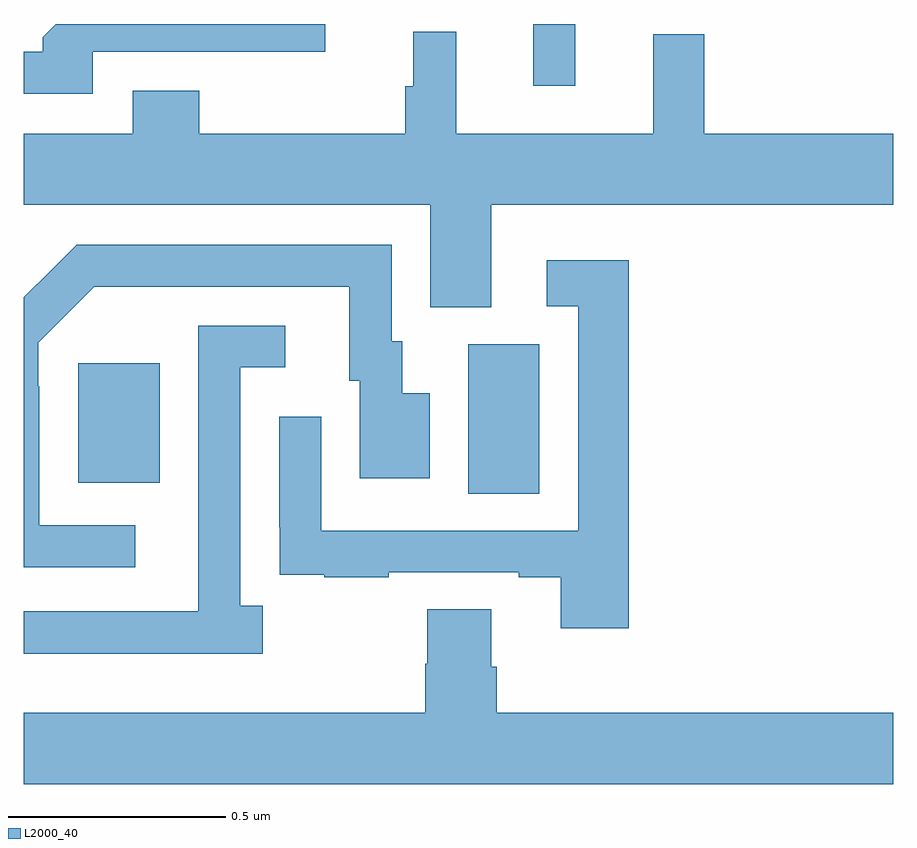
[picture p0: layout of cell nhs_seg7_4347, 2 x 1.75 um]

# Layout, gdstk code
import gdstk
lib = gdstk.Library(unit=1e-6, precision=1e-09)
def R(c, l, rs):  # rectangles x0, y0, x1, y1
    for r in rs: c.add(gdstk.rectangle(r[:2], r[2:], *l))
def P(c, l, *ps):  # polygons
    for p in ps: c.add(gdstk.Polygon(p, *l))
L2000_40 = (2000, 40)

nhs_seg7_4347 = lib.new_cell('nhs_seg7_4347')
R(nhs_seg7_4347, L2000_40, [(172.022,1031.92,172.186,1032.264), (171.125,1031.945,171.313,1032.22), (172.172,1032.858,172.269,1033)])
P(nhs_seg7_4347, L2000_40, [(171.159,1032.936),(171.694,1032.936),(171.694,1033),(171.074,1033),(171.044,1032.97),(171.044,1032.936),(171,1032.936),(171,1032.84),(171.159,1032.84)],
  [(171.935,1032.349),(172.075,1032.349),(172.075,1032.584),(173,1032.584),(173,1032.748),(172.565,1032.748),(172.565,1032.976),(172.448,1032.976),(172.448,1032.748),(171.995,1032.748),(171.995,1032.982),(171.896,1032.982),(171.896,1032.857),(171.877,1032.857),(171.877,1032.748),(171.404,1032.748),(171.404,1032.847),(171.251,1032.847),(171.251,1032.748),(171,1032.748),(171,1032.584),(171.935,1032.584)],
  [(171.256,1031.847),(171.036,1031.847),(171.036,1032.167),(171.033,1032.167),(171.033,1032.267),(171.162,1032.396),(171.749,1032.396),(171.749,1032.18),(171.773,1032.18),(171.773,1031.955),(171.934,1031.955),(171.934,1032.151),(171.871,1032.151),(171.871,1032.27),(171.846,1032.27),(171.846,1032.492),(171.122,1032.492),(171.031,1032.401),(171.03,1032.402),(171,1032.372),(171,1031.751),(171.256,1031.751)],
  [(172.391,1032.457),(172.203,1032.457),(172.203,1032.351),(172.275,1032.351),(172.275,1031.835),(171.684,1031.835),(171.684,1032.097),(171.588,1032.097),(171.588,1031.842),(171.589,1031.842),(171.589,1031.733),(171.691,1031.733),(171.691,1031.727),(171.839,1031.727),(171.839,1031.739),(172.139,1031.739),(172.139,1031.727),(172.235,1031.727),(172.235,1031.61),(172.391,1031.61)],
  [(171.55,1031.662),(171.498,1031.662),(171.498,1032.21),(171.601,1032.21),(171.601,1032.306),(171.402,1032.306),(171.402,1031.849),(171.401,1031.849),(171.401,1031.649),(171,1031.649),(171,1031.552),(171.55,1031.552)],
  [(173,1031.416),(172.088,1031.416),(172.088,1031.522),(172.075,1031.522),(172.075,1031.654),(171.928,1031.654),(171.928,1031.529),(171.923,1031.529),(171.923,1031.416),(171,1031.416),(171,1031.252),(173,1031.252)])

lib.write_gds('nhs_seg7_4347.gds')
